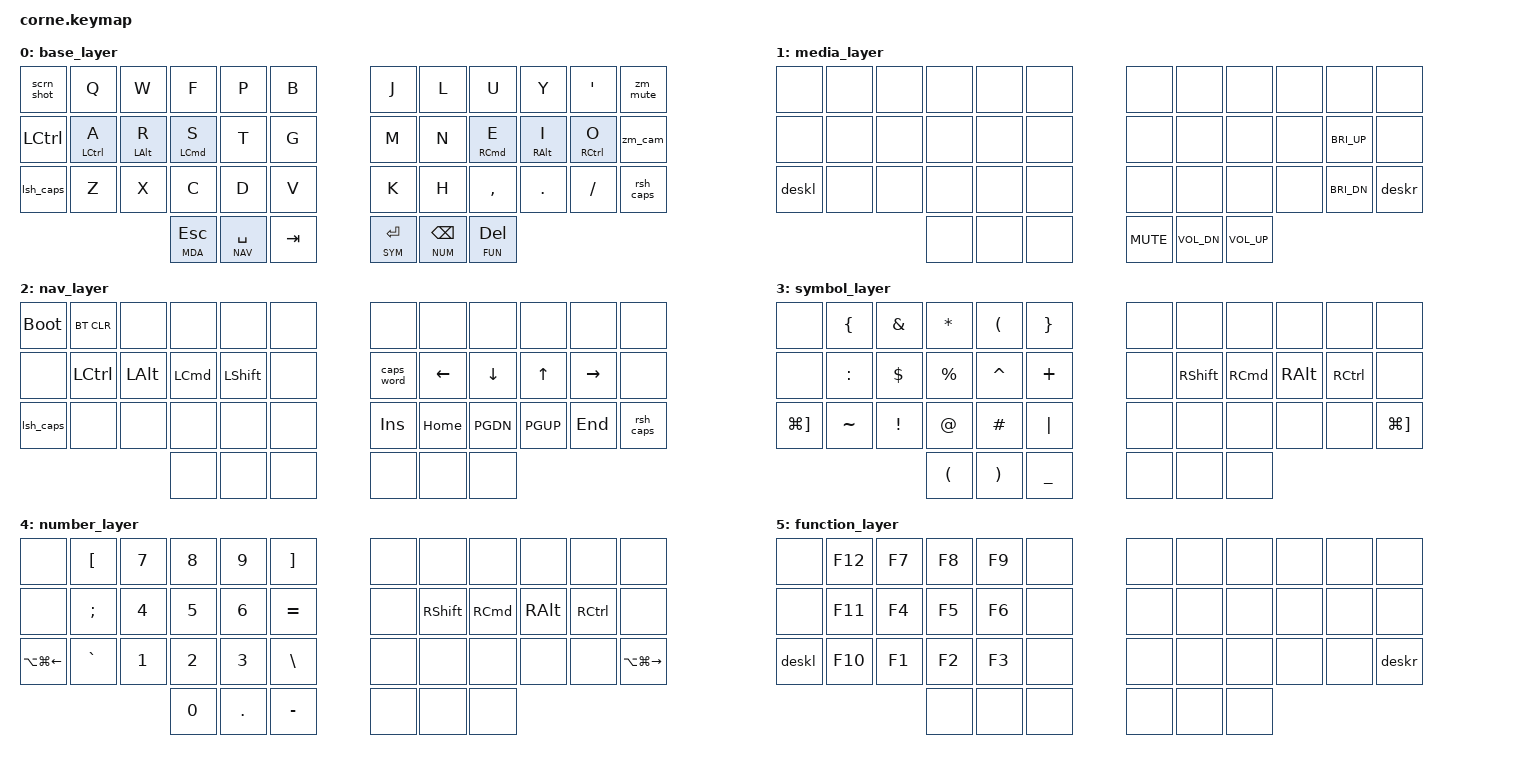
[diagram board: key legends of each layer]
/*
 * Keymap for rvnash's favorite Colemak layout of a Corne-like keyboard
 * Each hand is 6x3 with 3 thumb keys.
 */

#include <behaviors.dtsi>
#include <dt-bindings/zmk/keys.h>
#include <dt-bindings/zmk/bt.h>

#define DEFAULT 0
#define MDA     1
#define NAV     2
#define SYM     3
#define NUM     4
#define FUN     5

/* Combo helper, to DRY up combo definitions
 * usage: COMBO(vol_up, &kp C_VOL_UP,  9 19) */
#define FAST_COMBO(name, keypress, keypos) \
    combo_##name {                         \
        layers = <0>;                      \
        timeout-ms = <25>;                 \
        bindings = <keypress>;             \
        key-positions = <keypos>;          \
    };

#define SLOW_COMBO(name, keypress, keypos) \
    combo_##name {                         \
        layers = <0>;                      \
        timeout-ms = <75>;                 \
        bindings = <keypress>;             \
        key-positions = <keypos>;          \
    };

/* Macro helper to DRY up simple keypress macros
 * usage: MACRO(dir_up, &kp DOT &kp DOT &kp FSLH) */
#define MACRO(name, keys)                  \
    name: name##_macro {                   \
        label = #name;                     \
        compatible = "zmk,behavior-macro"; \
        #binding-cells = <0>;              \
        wait-ms = <1>;                     \
        tap-ms = <1>;                      \
        bindings = <keys>;                 \
    };

/* SHIFT_MORPH helper to DRY up SHIFT morpths
 * usage: SHIFT_MORPH(name, &kp A &kp B) */
#define SHIFT_MORPH(name, keys)                \
    name: name##_macro {                       \
        label = #name;                         \
        compatible = "zmk,behavior-mod-morph"; \
        #binding-cells = <0>;                  \
        bindings = <keys>;                     \
        mods = <(MOD_LSFT | MOD_RSFT)>;        \
    };

/* This is for snoyer's capslock based caps_word */
// &caps_word {
//   disable-on-keys = <SPACE TAB ENTER PERIOD>;
// };


/ {

      behaviors {
        hrm: home_row_mods {
            compatible = "zmk,behavior-hold-tap";
            label = "SLOW_HOME_ROW_MODS";
            #binding-cells = <2>;
            flavor = "balanced";
            tapping-term-ms = <250>;
            quick-tap-ms = <240>;
            bindings = <&kp>, <&kp>;
        };
        
        qlt: layer_tap_with_quick_tap {
            compatible = "zmk,behavior-hold-tap";
            label = "QUICK_LAYER_TAP";
            #binding-cells = <2>;
            flavor = "balanced";
            tapping-term-ms = <250>;
            quick-tap-ms = <240>;
            bindings = <&mo>, <&kp>;
        };
        
        lsh_caps: lsh_caps {
            compatible = "zmk,behavior-tap-dance";
            label = "LSHIFT_or_CAPSWORD";
            #binding-cells = <0>;
            tapping-term-ms = <200>;
            bindings = <&kp LSHIFT>, <&caps_word>;
        };
        
        rsh_caps: rsh_caps {
            compatible = "zmk,behavior-tap-dance";
            label = "RSHIFT_or_CAPSWORD";
            #binding-cells = <0>;
            tapping-term-ms = <200>;
            bindings = <&kp RSHIFT>, <&caps_word>;
        };

    };

    /* Combo key positions
    0  1  2  3  4  5        6  7  8  9  10 11
    12 13 14 15 16 17       18 19 20 21 22 23
    24 25 26 27 28 29       30 31 32 33 34 35
             36 37 38       39 40 41         */

   /* Comment out combos */
   /*
   combos {
        compatible = "zmk,combos";
        SLOW_COMBO(combo_lbkt, &kp LBKT, 1 2)
        SLOW_COMBO(combo_rbkt, &kp RBKT, 9 10)
        SLOW_COMBO(combo_lpar, &kp LPAR, 2 3)
        SLOW_COMBO(combo_rpar, &kp RPAR, 8 9)
        SLOW_COMBO(combo_lbrc, &kp LBRC, 3 4)
        SLOW_COMBO(combo_rbrc, &kp RBRC, 7 8)
     };
    */

    macros {
        MACRO(scrn_shot, &kp LS(LG(N4)))     // Mac screenshot
        MACRO(zm_mute, &kp LS(LG(A)))        // Zoom mute
        MACRO(zm_cam, &kp LS(LG(V)))         // Zoom cam on/off
        MACRO(deskl, &kp LC(LEFT))           // Mac desktop previous
        MACRO(deskr, &kp LC(RIGHT))          // Mac desktop next
    };
    
    keymap {
        compatible = "zmk,keymap";

base_layer {
            bindings = <
&scrn_shot   &kp Q         &kp W        &kp F         &kp P            &kp B       /**/  &kp J         &kp L          &kp U        &kp Y        &kp SQT       &zm_mute
&kp LCTRL    &hrm LCTRL A  &hrm LALT R  &hrm LCMD S   &kp T            &kp G       /**/  &kp M         &kp N          &hrm RCMD E  &hrm RALT I  &hrm RCTRL O  &zm_cam
&lsh_caps    &kp Z         &kp X        &kp C         &kp D            &kp V       /**/  &kp K         &kp H          &kp COMMA    &kp DOT      &kp FSLH      &rsh_caps
                                        &qlt MDA ESC  &qlt NAV SPACE   &kp TAB     /**/  &qlt SYM RET  &qlt NUM BSPC  &qlt FUN DEL
            >;
        };

media_layer /* MDA */ {
            bindings = <
&none       &none     &none     &none     &none       &none    /**/   &none      &none        &none     &none    &none         &none 
&none       &none     &none     &none     &none       &none    /**/   &none      &none        &none     &none    &kp C_BRI_UP  &none 
&deskl      &none     &none     &none     &none       &none    /**/   &none      &none        &none     &none    &kp C_BRI_DN  &deskr 
                                &none     &none       &none    /**/   &kp C_MUTE &kp C_VOL_DN &kp C_VOL_UP
            >;
        };

nav_layer /* NAV */ {
            bindings = <
&bootloader &bt BT_CLR &none    &none     &none       &none    /**/   &none      &none     &none     &none    &none      &none 
&none       &kp LCTRL  &kp LALT &kp LCMD  &kp LSHIFT  &none    /**/   &caps_word &kp LEFT  &kp DOWN  &kp UP   &kp RIGHT  &none 
&lsh_caps   &none      &none    &none     &none       &none    /**/   &kp INS    &kp HOME  &kp PGDN  &kp PGUP &kp END    &rsh_caps
                                &none     &none       &none    /**/   &none      &none     &none 
            >;
        };

symbol_layer /* SYM */ {
            bindings = <
&none         &kp LBRC  &kp AMPS  &kp STAR  &kp LPAR    &kp RBRC  /**/   &none     &none      &none     &none     &none      &none 
&none         &kp COLON &kp DLLR  &kp PRCNT &kp CARET   &kp PLUS  /**/   &none     &kp RSHIFT &kp RCMD  &kp RALT  &kp RCTRL  &none 
&kp LG(RBKT)  &kp TILDE &kp EXCL  &kp AT    &kp HASH    &kp PIPE  /**/   &none     &none      &none     &none     &none      &kp LG(RBKT)
                                  &kp LPAR  &kp RPAR    &kp UNDER /**/   &none     &none      &none 
            >;
        };

number_layer /* NUM */ {
            bindings = <
&none            &kp LBKT  &kp N7    &kp N8    &kp N9      &kp RBKT  /**/   &none     &none      &none     &none     &none      &none 
&none            &kp SEMI  &kp N4    &kp N5    &kp N6      &kp EQUAL /**/   &none     &kp RSHIFT &kp RCMD  &kp RALT  &kp RCTRL  &none 
&kp LA(LG(LEFT)) &kp GRAVE &kp N1    &kp N2    &kp N3      &kp BSLH  /**/   &none     &none      &none     &none     &none      &kp LA(LG(RIGHT))
                                     &kp N0    &kp DOT     &kp MINUS /**/   &none     &none      &none 
            >;
        };

function_layer /* FUN */ {
            bindings = <
&none     &kp F12   &kp F7    &kp F8    &kp F9      &none    /**/   &none    &none     &none     &none    &none      &none 
&none     &kp F11   &kp F4    &kp F5    &kp F6      &none    /**/   &none    &none     &none     &none    &none      &none 
&deskl    &kp F10   &kp F1    &kp F2    &kp F3      &none    /**/   &none    &none     &none     &none    &none      &deskr
                              &none     &none       &none    /**/   &none    &none     &none 
            >;
        };

    };
};
